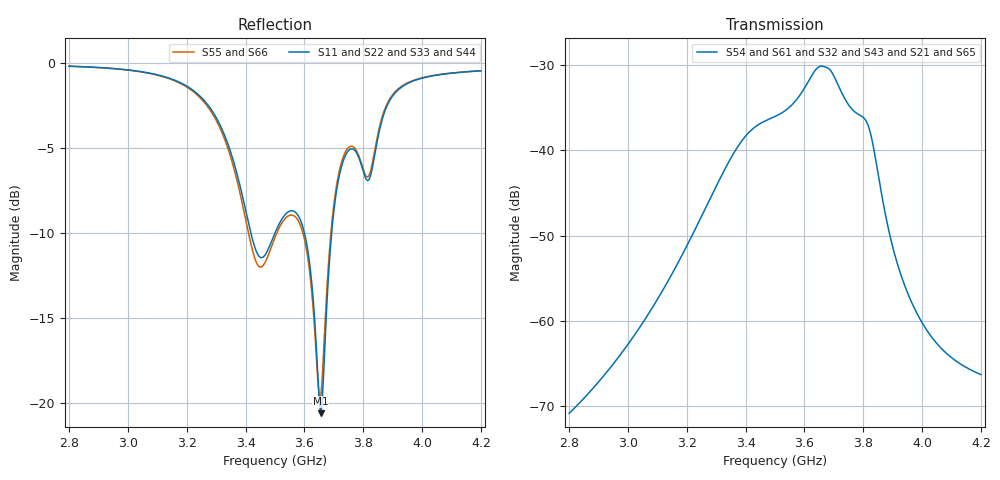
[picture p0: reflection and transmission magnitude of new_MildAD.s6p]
! Touchstone file exported from HFSS 2024.2.0
!  File:  D:/Jatin/new.aedt
!  Generated:  12:31:16 AM Oct  1, 2026
!  Design:  MildAD
!  Project:  new
!  Setup:  Setup1
!  Solution:  Sweep
! Variables:
!  $L = 85mm
!  $W = 35mm
!  H = 1.575mm
!  L = 42mm
!  W = 35mm
!  Wb = 6mm
!  a = 3.5mm
!  ant_dist = 115mm
!  ant_gap = 3mm
!  b = 5mm
!  c = 5mm
!  d = 2mm
!  g1 = 2mm
!  g2 = 2mm
!  g3 = 1mm
!  g4 = 2mm
!  gap = 10mm
!  r1 = 3.5mm
!  r2 = 6mm
!  r_brain = 95mm
!  r_brain_ad = 61.68mm
!  r_csf = 95.5mm
!  r_csf_expanded = 64.6mm
!  r_csf_inner = 61.68mm
!  r_csf_outer = 83.5mm
!  r_fat = 87.5mm
!  r_gray = 70.55mm
!  r_skin = 88mm
!  r_skull = 86.5mm
!  r_white = 17.5mm
!  slot_distance = 15mm
!  wc = 12mm
!  y1 = 15mm
!  y2 = 5mm
!  y4 = 11mm
!  z_ebg = -94.575mm
! Terminal data exported
! Port[1] = FEED_3_T4
! Port[2] = FEED_3_T3
! Port[3] = FEED_3_T2
! Port[4] = FEED_3_T1
! Port[5] = FEED_3_T6
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# GHz S MA R 50.000000
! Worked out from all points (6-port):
!   281 points, 2.8 GHz to 4.2 GHz, reference 50 ohm
!   strongest paths, dB at 2.8 GHz, 3.15 GHz, 3.5 GHz, 3.85 GHz, 4.2 GHz:
!     S54: -70.9, -54.5, -36.0, -42.6, -66.3
!     S61: -71.0, -54.6, -36.0, -42.9, -66.1
!     S32: -71.1, -54.7, -36.0, -42.7, -66.4
!     S43: -71.1, -54.8, -36.1, -42.7, -66.3
!     S21: -71.1, -54.8, -36.1, -42.9, -66.2
!     S65: -70.8, -54.5, -36.1, -42.8, -66.3
!   lowest |S11| = -20.6 dB at 3.655 GHz (marker M1), VSWR 1.21, Z = 42.9 - j4.96 ohm
!   |S11| at or under -10 dB: 3.418 GHz to 3.5 GHz (82.17 MHz wide, 2.38 % of centre); 3.6 GHz to 3.693 GHz (92.71 MHz wide, 2.54 % of centre)
